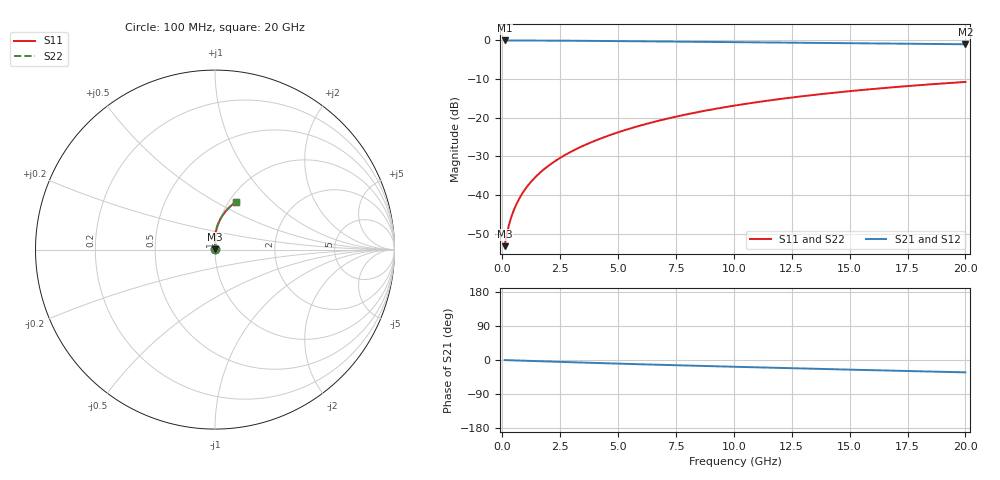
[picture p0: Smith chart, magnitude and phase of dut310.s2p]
! Touchstone file exported from HFSS 2024.1.0
!  File:  C:/UserFiles/LocalFiles/RDL_TSV_Batchsim/temp_RDL_top_310_1779606537.aedt
!  Generated:  03:11:18 PM May 24, 2026
!  Design:  RDL_top
!  Project:  temp_RDL_top_310_1779606537
!  Setup:  Setup1
!  Solution:  Sweep
! Variables:
!  dtsv = 10.80580581um
!  hbump = 3um
!  htsv = 51.4um
!  ldown = 100um
!  lrdl = 473.58um
!  p = 40
!  p1 = 51.37um
!  rhole = 1um
!  t = 450um
!  tdown = 3.915915916um
!  trdl = 4.27um
!  wdown = 15.38538539um
!  wrdl = 25.73um
# GHz S MA R 50.000000
! Terminal data exported
! Port[1] = Box2_T1
! Port[2] = Box2_T2
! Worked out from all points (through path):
!   200 points, 100 MHz to 20 GHz, reference 50 ohm
!   highest |S21| = -0.02 dB at 100 MHz (marker M1); lowest = -1.0 dB at 20 GHz (marker M2)
!   group delay of S21, straight-line fit = 4.46 ps
!   lowest |S11| = -53.2 dB at 100 MHz (marker M3), VSWR 1.00, Z = 50.2 + j0.135 ohm
!   |S11| at or under -10 dB: start of sweep to end of sweep
!   |S22| runs from -53.2 to -10.7 dB; largest |S21 - S12| = 3.5e-15
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0.1  0.002194 37.9  0.9983 -0.2  0.9983 -0.2  0.002194 37.9
! Gamma 0 0 0 0
! Port Impedance 50 0 50 0
0.2  0.003195 54.6  0.9981 -0.4  0.9981 -0.4  0.003195 54.6
0.3  0.004262 62.8  0.9979 -0.6  0.9979 -0.6  0.004262 62.8
0.4  0.00534 67.9  0.9978 -0.8  0.9978 -0.8  0.005341 67.9
0.5  0.006432 71.6  0.9977 -1.0  0.9977 -1.0  0.006432 71.6
0.6  0.007538 74.3  0.9975 -1.2  0.9975 -1.2  0.007538 74.3
0.8  0.009791 78.1  0.9972 -1.6  0.9972 -1.6  0.009791 78.1
1.1  0.01325 81.7  0.9967 -2.2  0.9967 -2.2  0.01325 81.7
1.5  0.01799 84.5  0.9957 -3.0  0.9957 -3.0  0.01799 84.5
2.1  0.02532 86.9  0.9939 -4.2  0.9939 -4.2  0.02532 86.9
2.7  0.03294 88.3  0.9915 -5.3  0.9915 -5.3  0.03294 88.3
3.5  0.04358 89.3  0.9877 -6.9  0.9877 -6.9  0.04357 89.3
4.2  0.05332 89.6  0.984 -8.1  0.984 -8.1  0.05331 89.6
5  0.06491 89.5  0.9795 -9.6  0.9795 -9.6  0.0649 89.5
5.9  0.07845 88.9  0.9741 -11.1  0.9741 -11.1  0.07842 88.9
6.8  0.09237 88.0  0.9686 -12.7  0.9686 -12.7  0.09234 88.0
8.4  0.1177 85.8  0.9589 -15.3  0.9589 -15.3  0.1177 85.8
10.1  0.1449 83.1  0.9488 -18.0  0.9488 -18.0  0.1448 83.1
11.7  0.1703 80.3  0.9394 -20.5  0.9394 -20.5  0.1702 80.3
13.4  0.1967 77.4  0.9296 -23.0  0.9296 -23.0  0.1966 77.3
16.7  0.2456 71.7  0.9107 -27.9  0.9107 -27.9  0.2454 71.6
20  0.2907 66.2  0.8916 -32.6  0.8916 -32.6  0.2906 66.2
